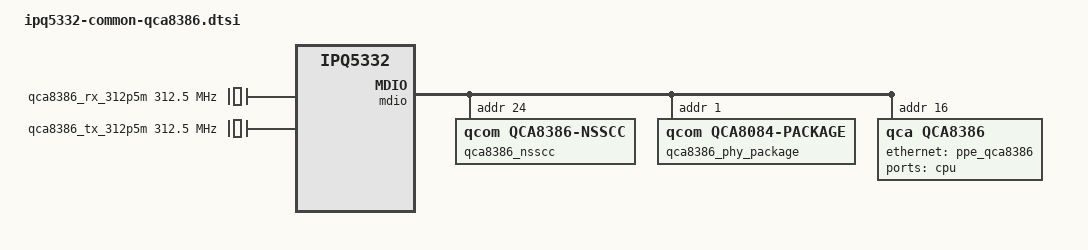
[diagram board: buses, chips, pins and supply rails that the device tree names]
// SPDX-License-Identifier: (GPL-2.0+ OR BSD-3-Clause)

/* QCA8386 with four integrated PHYs and a PCS1 2.5G CPU link.
 * Reset GPIOs, front-panel names, MAC cells and PAUSE are board wiring.
 */
#include <dt-bindings/clock/qcom,qca8k-nsscc.h>
#include <dt-bindings/net/qcom,qca808x.h>
#include <dt-bindings/reset/qcom,qca8k-nsscc.h>

/ {
	clocks {
		qca8386_rx_312p5m: qca8386-rx-312p5m {
			compatible = "fixed-clock";
			#clock-cells = <0>;
			clock-frequency = <312500000>;
		};

		qca8386_tx_312p5m: qca8386-tx-312p5m {
			compatible = "fixed-clock";
			#clock-cells = <0>;
			clock-frequency = <312500000>;
		};
	};
};

&mdio {
	clocks = <&gcc GCC_MDIO_AHB_CLK>,
		 <&gcc GCC_UNIPHY0_AHB_CLK>,
		 <&gcc GCC_UNIPHY0_SYS_CLK>,
		 <&gcc GCC_UNIPHY1_AHB_CLK>,
		 <&gcc GCC_UNIPHY1_SYS_CLK>;
	clock-names = "gcc_mdio_ahb_clk",
		      "uniphy0_ahb_clk", "uniphy0_sys_clk",
		      "uniphy1_ahb_clk", "uniphy1_sys_clk";
	mdio_clk_fixup;

	qca8386_nsscc: clock-controller@18 {
		compatible = "qcom,qca8386-nsscc", "qcom,qca8084-nsscc";
		reg = <0x18>;
		clocks = <&cmn_pll IPQ5332_ETH_50MHZ_CLK>,
			 <0>, <0>,
			 <&qca8386_rx_312p5m>, <&qca8386_tx_312p5m>,
			 <&qca8386_rx_312p5m>, <&qca8386_tx_312p5m>;
		#clock-cells = <1>;
		#reset-cells = <1>;
	};

	qca8386_phy_package: ethernet-phy-package@1 {
		#address-cells = <1>;
		#size-cells = <0>;
		compatible = "qcom,qca8084-package";
		reg = <1>;
		clocks = <&qca8386_nsscc NSS_CC_APB_BRIDGE_CLK>,
			 <&qca8386_nsscc NSS_CC_AHB_CLK>,
			 <&qca8386_nsscc NSS_CC_SEC_CTRL_AHB_CLK>,
			 <&qca8386_nsscc NSS_CC_TLMM_CLK>,
			 <&qca8386_nsscc NSS_CC_TLMM_AHB_CLK>,
			 <&qca8386_nsscc NSS_CC_CNOC_AHB_CLK>,
			 <&qca8386_nsscc NSS_CC_MDIO_AHB_CLK>;
		clock-names = "apb_bridge",
			      "ahb",
			      "sec_ctrl_ahb",
			      "tlmm",
			      "tlmm_ahb",
			      "cnoc_ahb",
			      "mdio_ahb";
		resets = <&qca8386_nsscc NSS_CC_GEPHY_FULL_ARES>;
		qcom,phy-addr-fixup = <1 2 3 4 5 6 7>;
		qcom,package-mode = <QCA808X_PCS1_SGMII_MAC_PCS0_SGMII_MAC>;
		qcom,pcs1-sgmii-plus;

		qca8386_phy1: ethernet-phy@1 {
			compatible = "ethernet-phy-id004d.d180";
			reg = <1>;
			clocks = <&qca8386_nsscc NSS_CC_GEPHY0_SYS_CLK>,
				 <&qca8386_nsscc NSS_CC_MAC1_TX_CLK>,
				 <&qca8386_nsscc NSS_CC_MAC1_RX_CLK>,
				 <&qca8386_nsscc NSS_CC_MAC1_GEPHY0_TX_CLK>,
				 <&qca8386_nsscc NSS_CC_MAC1_GEPHY0_RX_CLK>;
			clock-names = "phy", "mac_tx", "mac_rx",
				      "gephy_tx", "gephy_rx";
			resets = <&qca8386_nsscc NSS_CC_GEPHY0_SYS_ARES>;
		};

		qca8386_phy2: ethernet-phy@2 {
			compatible = "ethernet-phy-id004d.d180";
			reg = <2>;
			clocks = <&qca8386_nsscc NSS_CC_GEPHY1_SYS_CLK>,
				 <&qca8386_nsscc NSS_CC_MAC2_TX_CLK>,
				 <&qca8386_nsscc NSS_CC_MAC2_RX_CLK>,
				 <&qca8386_nsscc NSS_CC_MAC2_GEPHY1_TX_CLK>,
				 <&qca8386_nsscc NSS_CC_MAC2_GEPHY1_RX_CLK>;
			clock-names = "phy", "mac_tx", "mac_rx",
				      "gephy_tx", "gephy_rx";
			resets = <&qca8386_nsscc NSS_CC_GEPHY1_SYS_ARES>;
		};

		qca8386_phy3: ethernet-phy@3 {
			compatible = "ethernet-phy-id004d.d180";
			reg = <3>;
			clocks = <&qca8386_nsscc NSS_CC_GEPHY2_SYS_CLK>,
				 <&qca8386_nsscc NSS_CC_MAC3_TX_CLK>,
				 <&qca8386_nsscc NSS_CC_MAC3_RX_CLK>,
				 <&qca8386_nsscc NSS_CC_MAC3_GEPHY2_TX_CLK>,
				 <&qca8386_nsscc NSS_CC_MAC3_GEPHY2_RX_CLK>;
			clock-names = "phy", "mac_tx", "mac_rx",
				      "gephy_tx", "gephy_rx";
			resets = <&qca8386_nsscc NSS_CC_GEPHY2_SYS_ARES>;
		};

		qca8386_phy4: ethernet-phy@4 {
			compatible = "ethernet-phy-id004d.d180";
			reg = <4>;
			clocks = <&qca8386_nsscc NSS_CC_GEPHY3_SYS_CLK>,
				 <&qca8386_nsscc NSS_CC_MAC4_TX_CLK>,
				 <&qca8386_nsscc NSS_CC_MAC4_RX_CLK>,
				 <&qca8386_nsscc NSS_CC_MAC4_GEPHY3_TX_CLK>,
				 <&qca8386_nsscc NSS_CC_MAC4_GEPHY3_RX_CLK>;
			clock-names = "phy", "mac_tx", "mac_rx",
				      "gephy_tx", "gephy_rx";
			resets = <&qca8386_nsscc NSS_CC_GEPHY3_SYS_ARES>;
		};

		/* PCS1 is the QCA8386 switch CPU SerDes (MDIO base + 5). */
		qca8386_pcs1: pcs-phy@6 {
			compatible = "qcom,qca8k-pcs-phy";
			reg = <6>;
			clocks = <&qca8386_nsscc NSS_CC_SRDS1_SYS_CLK>,
				 <&qca8386_rx_312p5m>, <&qca8386_tx_312p5m>,
				 <&qca8386_nsscc NSS_CC_MAC0_TX_CLK>,
				 <&qca8386_nsscc NSS_CC_MAC0_RX_CLK>,
				 <&qca8386_nsscc NSS_CC_MAC0_TX_SRDS1_CLK>,
				 <&qca8386_nsscc NSS_CC_MAC0_RX_SRDS1_CLK>;
			clock-names = "pcs", "pcs_rx_root", "pcs_tx_root",
				      "mac_tx", "mac_rx",
				      "mac_tx_serdes", "mac_rx_serdes";
			resets = <&qca8386_nsscc NSS_CC_SRDS1_SYS_ARES>,
				 <&qca8386_nsscc NSS_CC_XPCS_ARES>;
			reset-names = "pcs", "xpcs";
		};
	};

	qca8386: switch@10 {
		compatible = "qca,qca8386";
		reg = <0x10>;

		ports {
			#address-cells = <1>;
			#size-cells = <0>;

			port@0 {
				reg = <0>;
				label = "cpu";
				ethernet = <&ppe_qca8386>;
				dsa-tag-protocol = "qca_4b";
				phy-mode = "2500base-x";

				fixed-link {
					speed = <2500>;
					full-duplex;
					pause;
				};
			};

			port@1 {
				reg = <1>;
				phy-mode = "sgmii";
				phy-handle = <&qca8386_phy1>;
			};

			port@2 {
				reg = <2>;
				phy-mode = "sgmii";
				phy-handle = <&qca8386_phy2>;
			};

			port@3 {
				reg = <3>;
				phy-mode = "sgmii";
				phy-handle = <&qca8386_phy3>;
			};

			port@4 {
				reg = <4>;
				phy-mode = "sgmii";
				phy-handle = <&qca8386_phy4>;
			};
		};
	};
};

&qcom_ppe {
	ethernet-ports {
		ppe_qca8386: port@1 {
			reg = <1>;
			label = "switch";
			phy-mode = "2500base-x";
			pcs-handle = <&pcs0_ch0>;
			clocks = <&nsscc NSS_CC_PORT1_MAC_CLK>,
				 <&nsscc NSS_CC_PORT1_RX_CLK>,
				 <&nsscc NSS_CC_PORT1_TX_CLK>;
			clock-names = "mac",
				      "rx",
				      "tx";
			resets = <&nsscc NSS_CC_PORT1_MAC_CLK_ARES>,
				 <&nsscc NSS_CC_PORT1_RX_CLK_ARES>,
				 <&nsscc NSS_CC_PORT1_TX_CLK_ARES>;
			reset-names = "mac",
				      "rx",
				      "tx";

			fixed-link {
				speed = <2500>;
				full-duplex;
				pause;
			};
		};
	};
};
